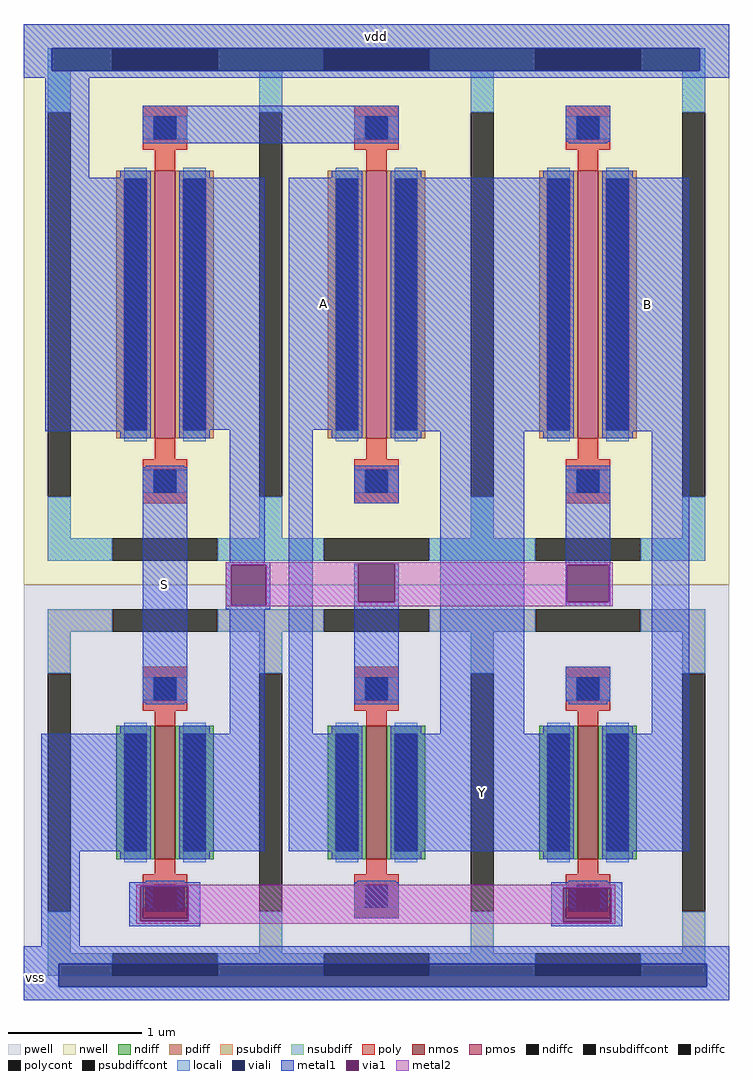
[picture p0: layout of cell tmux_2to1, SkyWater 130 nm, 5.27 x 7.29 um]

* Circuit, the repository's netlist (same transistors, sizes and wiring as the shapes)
* NGSPICE file created from tmux_2to1_lvs.ext - technology: sky130A

.subckt sky130_fd_pr__pfet_01v8_A6MZLZ B D S G
X0 S G D B sky130_fd_pr__pfet_01v8 ad=0.58 pd=4.58 as=0.58 ps=4.58 w=2 l=0.15
.ends

.subckt sky130_fd_pr__nfet_01v8_MH3LLV B D S G
X0 S G D B sky130_fd_pr__nfet_01v8 ad=0.29 pd=2.58 as=0.29 ps=2.58 w=1 l=0.15
.ends

.subckt tmux_2to1_lvs A B S Y vdd vss
XXM1 vdd vdd XM5/G S sky130_fd_pr__pfet_01v8_A6MZLZ
XXM2 vss vss XM5/G S sky130_fd_pr__nfet_01v8_MH3LLV
XXM3 vdd A Y S sky130_fd_pr__pfet_01v8_A6MZLZ
XXM4 vss A Y XM5/G sky130_fd_pr__nfet_01v8_MH3LLV
XXM5 vdd Y B XM5/G sky130_fd_pr__pfet_01v8_A6MZLZ
XXM6 vss Y B S sky130_fd_pr__nfet_01v8_MH3LLV
.ends

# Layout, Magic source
magic
tech sky130A
magscale 1 2
<< viali >>
rect 128 802 1096 836
rect 138 -566 1106 -532
<< metal1 >>
rect 86 836 1140 872
rect 86 802 128 836
rect 1096 802 1140 836
rect 86 792 1140 802
rect 118 642 184 792
rect 264 694 646 750
rect 896 696 962 750
rect 118 264 270 642
rect 324 266 446 642
rect 264 -142 330 210
rect 394 68 446 266
rect 482 266 586 642
rect 388 64 454 68
rect 388 4 396 64
rect 448 4 454 64
rect 388 -2 454 4
rect 394 -188 446 -2
rect 112 -364 270 -188
rect 324 -364 446 -188
rect 482 -188 518 266
rect 640 264 902 642
rect 956 264 1080 642
rect 580 156 646 212
rect 580 8 586 66
rect 640 8 646 66
rect 580 -144 646 8
rect 708 -188 834 264
rect 896 64 962 212
rect 896 8 898 64
rect 960 8 962 64
rect 896 2 962 8
rect 896 -140 962 -88
rect 1024 -188 1080 264
rect 482 -364 586 -188
rect 640 -364 902 -188
rect 956 -364 1080 -188
rect 112 -506 170 -364
rect 244 -416 350 -410
rect 244 -468 260 -416
rect 332 -468 350 -416
rect 580 -464 646 -410
rect 874 -418 980 -410
rect 244 -476 350 -468
rect 874 -470 892 -418
rect 964 -470 980 -418
rect 874 -476 980 -470
rect 86 -532 1140 -506
rect 86 -566 138 -532
rect 1106 -566 1140 -532
rect 86 -586 1140 -566
<< via1 >>
rect 396 4 448 64
rect 586 8 640 66
rect 898 8 960 64
rect 260 -468 332 -416
rect 892 -470 964 -418
<< metal2 >>
rect 388 66 966 68
rect 388 64 586 66
rect 388 4 396 64
rect 448 8 586 64
rect 640 64 966 66
rect 640 8 898 64
rect 960 8 966 64
rect 448 4 966 8
rect 388 2 966 4
rect 254 -416 970 -414
rect 254 -468 260 -416
rect 332 -418 970 -416
rect 332 -468 892 -418
rect 254 -470 892 -468
rect 964 -470 970 -418
rect 254 -472 970 -470
use sky130_fd_pr__pfet_01v8_A6MZLZ  XM1
transform 1 0 297 0 1 453
box -211 -419 211 419
use sky130_fd_pr__nfet_01v8_MH3LLV  XM2
transform 1 0 297 0 1 -276
box -211 -310 211 310
use sky130_fd_pr__pfet_01v8_A6MZLZ  XM3
transform 1 0 613 0 1 453
box -211 -419 211 419
use sky130_fd_pr__nfet_01v8_MH3LLV  XM4
transform 1 0 613 0 1 -276
box -211 -310 211 310
use sky130_fd_pr__pfet_01v8_A6MZLZ  XM5
transform 1 0 929 0 1 453
box -211 -419 211 419
use sky130_fd_pr__nfet_01v8_MH3LLV  XM6
transform 1 0 929 0 1 -276
box -211 -310 211 310
<< labels >>
rlabel metal1 482 266 586 642 1 A
port 0 n
rlabel metal1 956 264 1080 642 1 B
port 1 n
rlabel metal1 264 -142 330 210 1 S
port 2 n
rlabel metal1 640 -364 902 -188 1 Y
port 3 n
rlabel metal1 86 836 1140 872 1 vdd
port 4 n
rlabel metal1 86 -586 122 -520 1 vss
port 5 n
<< end >>

# cell sky130_fd_pr__pfet_01v8_A6MZLZ: kit device sky130_fd_pr__pfet_01v8, w 2.0 l 0.15 m 1 nf 1 diffcov 100 polycov 100 guard 1 glc 1 grc 1 gtc 1 gbc 1 tbcov 100 rlcov 100 topc 1 botc 1 poverlap 0 doverlap 1 lmin 0.15 wmin 0.42 class mosfet compatible {sky130_fd_pr__pfet_01v8 sky130_fd_pr__pfet_01v8_lvt sky130_fd_pr__pfet_01v8_hvt sky130_fd_pr__pfet_g5v0d10v5} full_metal 1 conn_gates 0 viasrc 100 viadrn 100 viagate 100 viagb 0 viagr 0 viagl 0 viagt 0 doports 1 ad 0.58 as 0.58 pd 4.58 ps 4.58 nrd 0.145 nrs 0.145 sa 0 sb 0 sd 0 mult 1

# cell sky130_fd_pr__nfet_01v8_MH3LLV: kit device sky130_fd_pr__nfet_01v8, w 1.0 l 0.15 m 1 nf 1 diffcov 100 polycov 100 guard 1 glc 1 grc 1 gtc 1 gbc 1 tbcov 100 rlcov 100 topc 1 botc 1 poverlap 0 doverlap 1 lmin 0.15 wmin 0.42 class mosfet compatible {sky130_fd_pr__nfet_01v8 sky130_fd_pr__nfet_01v8_lvt sky130_fd_bs_flash__special_sonosfet_star sky130_fd_pr__nfet_g5v0d10v5 sky130_fd_pr__nfet_05v0_nvt sky130_fd_pr__nfet_03v3_nvt} full_metal 1 conn_gates 0 viasrc 100 viadrn 100 viagate 100 viagb 0 viagr 0 viagl 0 viagt 0 doports 1 ad 0.29 as 0.29 pd 2.58 ps 2.58 nrd 0.29 nrs 0.29 sa 0 sb 0 sd 0 mult 1
